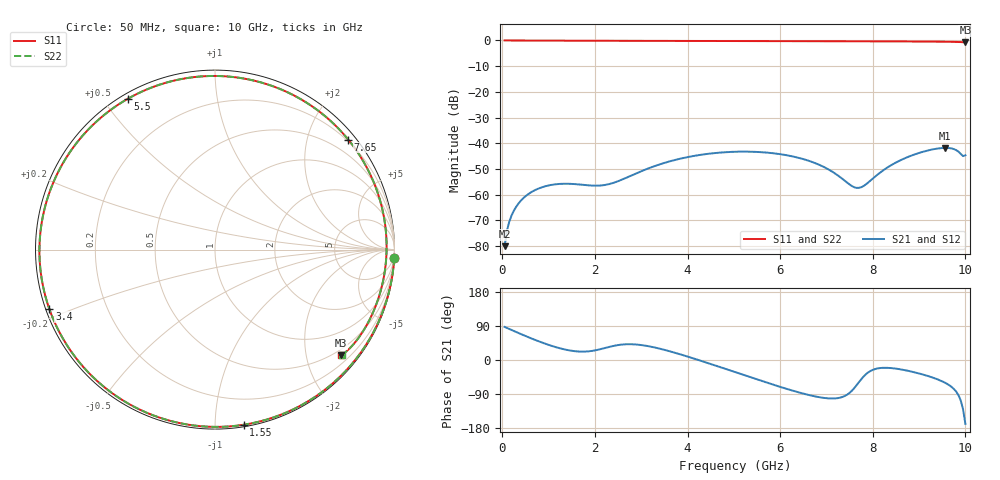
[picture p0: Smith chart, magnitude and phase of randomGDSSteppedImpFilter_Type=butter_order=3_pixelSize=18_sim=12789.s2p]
! freq	dB(S11)	phase(S11)	dB(S12)	phase(S12)
!  dB(S21)	phase(S21)	dB(S22)	phase(S22)
!S-par simulation data
#  GHz  S  DB  R 50
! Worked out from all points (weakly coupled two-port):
!   200 points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, 50 MHz to 10 GHz, reference 50 ohm
!   highest |S21| = -41.80 dB at 9.55 GHz (marker M1); lowest = -80.0 dB at 50 MHz (marker M2)
!   lowest |S11| = -0.7 dB at 10 GHz (marker M3), VSWR 23.18, Z = 18.2 - j135 ohm
!   |S11| at or under -10 dB: nowhere
!   |S22| runs from -0.7 to 0.0 dB; largest |S21 - S12| = 0
!   S11 on the Smith chart (normalised r, x): 50 MHz: 0, -42; 1.55 GHz: 0.01, -1.18; 3.4 GHz: 0.01, -0.17; 5.5 GHz: 0.02, +0.58; 7.65 GHz: 0.17, +2.77; 10 GHz: 0.36, -2.71
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0.05  -0.00 -2.8  -80.04 87.3  -80.04 87.3  -0.00 -2.8
0.1  -0.01 -5.5  -74.03 84.6  -74.03 84.6  -0.01 -5.5
0.2  -0.02 -10.9  -68.09 79.2  -68.09 79.2  -0.02 -10.9
0.45  -0.04 -24.4  -61.43 65.9  -61.43 65.9  -0.04 -24.4
0.9  -0.06 -48.2  -56.87 44.2  -56.87 44.2  -0.06 -48.2
1.55  -0.10 -80.7  -55.87 23.5  -55.87 23.5  -0.10 -80.7
1.75  -0.11 -90.2  -56.19 22.1  -56.19 22.1  -0.11 -90.1
2.15  -0.12 -108.4  -56.40 29.5  -56.40 29.5  -0.12 -108.4
2.45  -0.14 -121.5  -55.10 38.4  -55.10 38.4  -0.14 -121.4
2.95  -0.15 -142.3  -51.27 40.2  -51.27 40.2  -0.15 -142.3
3.4  -0.17 -160.3  -48.21 29.9  -48.21 29.9  -0.17 -160.2
4.2  -0.20 169.0  -44.73 1.4  -44.73 1.4  -0.20 169.0
5.05  -0.24 137.0  -43.29 -32.9  -43.29 -32.9  -0.24 137.1
5.5  -0.26 120.0  -43.37 -51.2  -43.37 -51.2  -0.26 120.1
6.1  -0.28 97.4  -44.53 -74.7  -44.53 -74.7  -0.28 97.5
6.7  -0.30 74.8  -47.34 -94.6  -47.34 -94.6  -0.30 74.9
7.65  -0.33 39.5  -57.35 -66.6  -57.35 -66.6  -0.33 39.7
7.8  -0.34 34.1  -56.64 -43.8  -56.64 -43.8  -0.34 34.2
8.35  -0.36 14.7  -49.04 -20.9  -49.04 -20.9  -0.36 14.9
8.95  -0.41 -5.5  -44.06 -34.0  -44.06 -34.0  -0.41 -5.4
9.55  -0.49 -24.9  -41.80 -59.3  -41.80 -59.3  -0.49 -24.7
10  -0.75 -40.0  -44.68 -168.6  -44.68 -168.6  -0.73 -39.7
